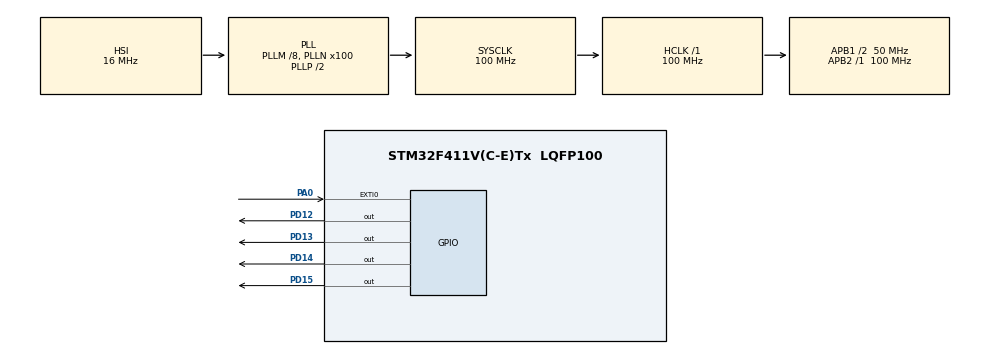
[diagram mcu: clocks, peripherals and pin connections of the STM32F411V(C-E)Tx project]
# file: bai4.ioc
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Mcu.Family=STM32F4
Mcu.Name=STM32F411V(C-E)Tx
Mcu.Package=LQFP100
NVIC.EXTI0_IRQn=true\:0\:0\:false\:false\:true\:true\:true\:true
NVIC.PriorityGroup=NVIC_PRIORITYGROUP_4
PA0-WKUP.Signal=GPXTI0
PC14-OSC32_IN.Mode=LSE-External-Oscillator
PC14-OSC32_IN.Signal=RCC_OSC32_IN
PC15-OSC32_OUT.Mode=LSE-External-Oscillator
PC15-OSC32_OUT.Signal=RCC_OSC32_OUT
PD12.Signal=GPIO_Output
PD13.Signal=GPIO_Output
PD14.Signal=GPIO_Output
PD15.Signal=GPIO_Output
PH0\ -\ OSC_IN.Mode=HSE-External-Oscillator
PH0\ -\ OSC_IN.Signal=RCC_OSC_IN
PH1\ -\ OSC_OUT.Mode=HSE-External-Oscillator
PH1\ -\ OSC_OUT.Signal=RCC_OSC_OUT
ProjectManager.HeapSize=0x200
ProjectManager.StackSize=0x400
ProjectManager.TargetToolchain=MDK-ARM V5.32
RCC.48MHZClocksFreq_Value=50000000
RCC.AHBFreq_Value=100000000
RCC.APB1CLKDivider=RCC_HCLK_DIV2
RCC.APB1Freq_Value=50000000
RCC.APB1TimFreq_Value=100000000
RCC.APB2Freq_Value=100000000
RCC.APB2TimFreq_Value=100000000
RCC.CortexFreq_Value=100000000
RCC.HCLKFreq_Value=100000000
RCC.HSE_VALUE=25000000
RCC.HSI_VALUE=16000000
RCC.PLLM=8
RCC.PLLN=100
RCC.SYSCLKFreq_VALUE=100000000
RCC.SYSCLKSource=RCC_SYSCLKSOURCE_PLLCLK
RCC.VCOOutputFreq_Value=200000000
board=custom

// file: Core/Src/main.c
/* USER CODE BEGIN Header */
/**
  ******************************************************************************
  * @file           : main.c
  * @brief          : Main program body
  ******************************************************************************
  * @attention
  *
  * Copyright (c) 2023 STMicroelectronics.
  * All rights reserved.
  *
  * This software is licensed under terms that can be found in the LICENSE file
  * in the root directory of this software component.
  * If no LICENSE file comes with this software, it is provided AS-IS.
  *
  ******************************************************************************
  */
/* USER CODE END Header */
#include "main.h"
#include "gpio.h"

/* USER CODE BEGIN PD */
volatile uint8_t count = 0;
uint32_t lastDebounceTime = 0;
uint32_t debounceDelay = 50;

/* USER CODE END PD */

void SystemClock_Config(void);

/* USER CODE BEGIN 0 */
void HAL_GPIO_EXTI_Callback(uint16_t GPIO_Pin)
	{
		   uint32_t currentTime = HAL_GetTick();
        if ((currentTime - lastDebounceTime) > debounceDelay)
        {

            count++;
            lastDebounceTime = currentTime;
					for(int j = 500000; j >0 ; j--);
					__HAL_GPIO_EXTI_CLEAR_IT(GPIO_PIN_0 );
     			HAL_NVIC_ClearPendingIRQ(EXTI0_IRQn);
        }
//		if(GPIO_Pin ==GPIO_PIN_0 )
//			{
//			  count++;
//
//				__HAL_GPIO_EXTI_CLEAR_IT(GPIO_PIN_0 );
//				HAL_NVIC_ClearPendingIRQ(EXTI0_IRQn);
//
//			}

	}

void nhayled()
	{
	     for (int i = 0; i < count; i++)
        {
            HAL_GPIO_WritePin(GPIOD, GPIO_PIN_12 | GPIO_PIN_13 | GPIO_PIN_14 | GPIO_PIN_15, GPIO_PIN_SET);
            HAL_Delay(500);
            HAL_GPIO_WritePin(GPIOD, GPIO_PIN_12 | GPIO_PIN_13 | GPIO_PIN_14 | GPIO_PIN_15, GPIO_PIN_RESET);
            HAL_Delay(500);
        }
				 count = 0;

	}
/* USER CODE END 0 */

int main(void)
{

  /* MCU Configuration--------------------------------------------------------*/

  /* Reset of all peripherals, Initializes the Flash interface and the Systick. */
  HAL_Init();

  /* Configure the system clock */
  SystemClock_Config();

  /* Initialize all configured peripherals */
  MX_GPIO_Init();

  /* Infinite loop */
  while (1)
  {

    /* USER CODE BEGIN 3 */

         nhayled();

    }

  /* USER CODE END 3 */
}

void SystemClock_Config(void)
{
  RCC_OscInitTypeDef RCC_OscInitStruct = {0};
  RCC_ClkInitTypeDef RCC_ClkInitStruct = {0};

  /** Configure the main internal regulator output voltage
  */
  __HAL_RCC_PWR_CLK_ENABLE();
  __HAL_PWR_VOLTAGESCALING_CONFIG(PWR_REGULATOR_VOLTAGE_SCALE1);

  /** Initializes the RCC Oscillators according to the specified parameters
  * in the RCC_OscInitTypeDef structure.
  */
  RCC_OscInitStruct.OscillatorType = RCC_OSCILLATORTYPE_HSI;
  RCC_OscInitStruct.HSIState = RCC_HSI_ON;
  RCC_OscInitStruct.HSICalibrationValue = RCC_HSICALIBRATION_DEFAULT;
  RCC_OscInitStruct.PLL.PLLState = RCC_PLL_ON;
  RCC_OscInitStruct.PLL.PLLSource = RCC_PLLSOURCE_HSI;
  RCC_OscInitStruct.PLL.PLLM = 8;
  RCC_OscInitStruct.PLL.PLLN = 100;
  RCC_OscInitStruct.PLL.PLLP = RCC_PLLP_DIV2;
  RCC_OscInitStruct.PLL.PLLQ = 4;
  if (HAL_RCC_OscConfig(&RCC_OscInitStruct) != HAL_OK)
  {
    Error_Handler();
  }

  /** Initializes the CPU, AHB and APB buses clocks
  */
  RCC_ClkInitStruct.ClockType = RCC_CLOCKTYPE_HCLK|RCC_CLOCKTYPE_SYSCLK
                              |RCC_CLOCKTYPE_PCLK1|RCC_CLOCKTYPE_PCLK2;
  RCC_ClkInitStruct.SYSCLKSource = RCC_SYSCLKSOURCE_PLLCLK;
  RCC_ClkInitStruct.AHBCLKDivider = RCC_SYSCLK_DIV1;
  RCC_ClkInitStruct.APB1CLKDivider = RCC_HCLK_DIV2;
  RCC_ClkInitStruct.APB2CLKDivider = RCC_HCLK_DIV1;

  if (HAL_RCC_ClockConfig(&RCC_ClkInitStruct, FLASH_LATENCY_3) != HAL_OK)
  {
    Error_Handler();
  }
}

void Error_Handler(void)
{
  __disable_irq();
  while (1)
  {
  }
}
